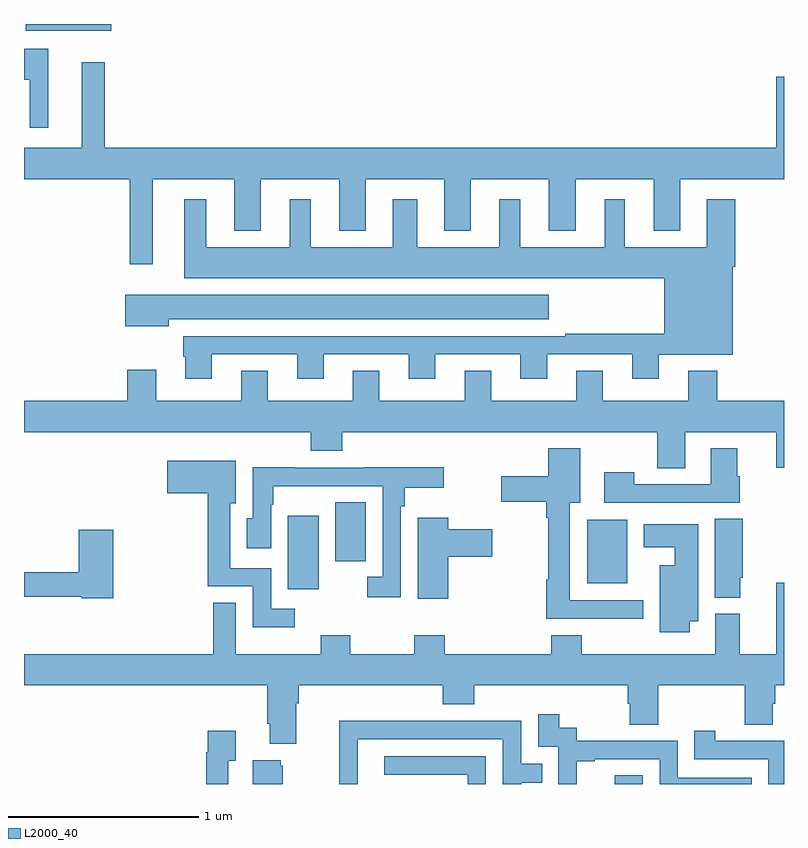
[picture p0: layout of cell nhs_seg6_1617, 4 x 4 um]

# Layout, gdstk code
import gdstk
lib = gdstk.Library(unit=1e-6, precision=1e-09)
def R(c, l, rs):  # rectangles x0, y0, x1, y1
    for r in rs: c.add(gdstk.rectangle(r[:2], r[2:], *l))
def P(c, l, *ps):  # polygons
    for p in ps: c.add(gdstk.Polygon(p, *l))
L2000_40 = (2000, 40)

nhs_seg6_1617 = lib.new_cell('nhs_seg6_1617')
R(nhs_seg6_1617, L2000_40, [(212.109,929.5,212.256,929.545), (210.389,930.524,210.55,930.913), (211.964,930.557,212.176,930.892), (210.638,930.672,210.799,930.983), (209.01,933.464,209.459,933.5)])
P(nhs_seg6_1617, L2000_40, [(209.128,933.37),(209,933.37),(209,933.206),(209.03,933.206),(209.03,932.955),(209.128,932.955)],
  [(209.677,932.684),(210.107,932.684),(210.107,932.411),(210.247,932.411),(210.247,932.684),(210.659,932.684),(210.659,932.411),(210.799,932.411),(210.799,932.684),(211.211,932.684),(211.211,932.411),(211.351,932.411),(211.351,932.684),(211.763,932.684),(211.763,932.411),(211.903,932.411),(211.903,932.684),(212.315,932.684),(212.315,932.411),(212.455,932.411),(212.455,932.684),(213,932.684),(213,933.223),(212.96,933.223),(212.96,932.848),(209.425,932.848),(209.425,933.298),(209.303,933.298),(209.303,932.848),(209,932.848),(209,932.684),(209.556,932.684),(209.556,932.235),(209.677,932.235)],
  [(209.989,931.761),(210.437,931.761),(210.437,931.632),(210.577,931.632),(210.577,931.761),(211.025,931.761),(211.025,931.632),(211.165,931.632),(211.165,931.761),(211.613,931.761),(211.613,931.632),(211.753,931.632),(211.753,931.761),(212.201,931.761),(212.201,931.632),(212.341,931.632),(212.341,931.76),(212.731,931.76),(212.731,932.222),(212.744,932.222),(212.744,932.578),(212.594,932.578),(212.594,932.326),(212.161,932.326),(212.161,932.578),(212.057,932.578),(212.057,932.326),(211.612,932.326),(211.612,932.578),(211.502,932.578),(211.502,932.326),(211.069,932.326),(211.069,932.578),(210.941,932.578),(210.941,932.326),(210.508,932.326),(210.508,932.578),(210.398,932.578),(210.398,932.326),(209.959,932.326),(209.959,932.578),(209.843,932.578),(209.843,932.162),(212.369,932.162),(212.369,931.87),(211.849,931.87),(211.849,931.857),(209.837,931.857),(209.837,931.749),(209.849,931.749),(209.849,931.632),(209.989,931.632)],
  [(209.761,931.946),(211.762,931.946),(211.762,932.074),(209.532,932.074),(209.532,931.91),(209.761,931.91)],
  [(212.479,931.352),(212.96,931.352),(212.96,931.164),(213,931.164),(213,931.516),(212.648,931.516),(212.648,931.675),(212.495,931.675),(212.495,931.516),(212.047,931.516),(212.047,931.676),(211.907,931.676),(211.907,931.516),(211.459,931.516),(211.459,931.676),(211.319,931.676),(211.319,931.516),(210.871,931.516),(210.871,931.676),(210.731,931.676),(210.731,931.516),(210.283,931.516),(210.283,931.676),(210.143,931.676),(210.143,931.516),(209.695,931.516),(209.695,931.681),(209.543,931.681),(209.543,931.516),(209,931.516),(209,931.352),(210.509,931.352),(210.509,931.253),(210.674,931.253),(210.674,931.352),(212.332,931.352),(212.332,931.162),(212.479,931.162)],
  [(212.26,930.468),(211.873,930.468),(211.873,930.98),(211.927,930.98),(211.927,931.267),(211.76,931.267),(211.76,931.12),(211.512,931.12),(211.512,930.986),(211.748,930.986),(211.748,930.902),(211.76,930.902),(211.76,930.575),(211.748,930.575),(211.748,930.371),(212.26,930.371)],
  [(212.768,931.119),(212.755,931.119),(212.755,931.267),(212.615,931.267),(212.615,931.077),(212.211,931.077),(212.211,931.141),(212.055,931.141),(212.055,930.981),(212.768,930.981)],
  [(210.424,930.423),(210.3,930.423),(210.3,930.636),(210.085,930.636),(210.085,930.977),(210.115,930.977),(210.115,931.201),(209.754,931.201),(209.754,931.031),(209.967,931.031),(209.967,930.54),(210.204,930.54),(210.204,930.326),(210.424,930.326)],
  [(210.984,930.962),(211.004,930.962),(211.004,931.058),(211.21,931.058),(211.21,931.166),(210.791,931.166),(210.791,931.164),(210.425,931.164),(210.425,931.166),(210.204,931.166),(210.204,930.9),(210.173,930.9),(210.173,930.741),(210.3,930.741),(210.3,930.971),(210.313,930.971),(210.313,931.067),(210.542,931.067),(210.542,931.068),(210.888,931.068),(210.888,930.591),(210.807,930.591),(210.807,930.483),(210.984,930.483)],
  [(211.232,930.695),(211.465,930.695),(211.465,930.842),(211.232,930.842),(211.232,930.901),(211.073,930.901),(211.073,930.474),(211.232,930.474)],
  [(212.77,930.586),(212.783,930.586),(212.783,930.896),(212.636,930.896),(212.636,930.481),(212.77,930.481)],
  [(212.503,930.356),(212.548,930.356),(212.548,930.868),(212.261,930.868),(212.261,930.746),(212.426,930.746),(212.426,930.652),(212.345,930.652),(212.345,930.3),(212.503,930.3)],
  [(209.471,930.838),(209.288,930.838),(209.288,930.614),(209,930.614),(209,930.486),(209.304,930.486),(209.304,930.478),(209.471,930.478)],
  [(211.935,930.283),(211.775,930.283),(211.775,930.184),(211.214,930.184),(211.214,930.283),(211.054,930.283),(211.054,930.184),(210.717,930.184),(210.717,930.283),(210.562,930.283),(210.562,930.184),(210.115,930.184),(210.115,930.455),(209.997,930.455),(209.997,930.184),(209,930.184),(209,930.02),(210.281,930.02),(210.281,929.818),(210.293,929.818),(210.293,929.711),(210.433,929.711),(210.433,929.924),(210.446,929.924),(210.446,930.02),(211.205,930.02),(211.205,929.921),(211.37,929.921),(211.37,930.02),(212.177,930.02),(212.177,929.922),(212.189,929.922),(212.189,929.812),(212.337,929.812),(212.337,930.02),(212.794,930.02),(212.794,929.812),(212.941,929.812),(212.941,929.922),(212.954,929.922),(212.954,930.02),(213,930.02),(213,930.559),(212.96,930.559),(212.96,930.184),(212.767,930.184),(212.767,930.396),(212.639,930.396),(212.639,930.184),(211.935,930.184)],
  [(211.91,929.619),(212.005,929.619),(212.005,929.631),(212.346,929.631),(212.346,929.5),(212.831,929.5),(212.831,929.532),(212.442,929.532),(212.442,929.727),(211.908,929.727),(211.908,929.796),(211.816,929.796),(211.816,929.866),(211.707,929.866),(211.707,929.697),(211.812,929.697),(211.812,929.5),(211.91,929.5)],
  [(210.756,929.736),(211.521,929.736),(211.521,929.5),(211.617,929.5),(211.617,929.506),(211.727,929.506),(211.727,929.607),(211.617,929.607),(211.617,929.832),(211.121,929.832),(211.121,929.834),(210.658,929.834),(210.658,929.527),(210.66,929.527),(210.66,929.5),(210.756,929.5)],
  [(213,929.727),(212.638,929.727),(212.638,929.779),(212.527,929.779),(212.527,929.631),(212.916,929.631),(212.916,929.5),(213,929.5)],
  [(210.075,929.623),(210.115,929.623),(210.115,929.779),(209.967,929.779),(209.967,929.666),(209.959,929.666),(209.959,929.5),(210.075,929.5)],
  [(211.431,929.646),(210.897,929.646),(210.897,929.55),(211.335,929.55),(211.335,929.5),(211.431,929.5)],
  [(210.361,929.595),(210.35,929.595),(210.35,929.626),(210.203,929.626),(210.203,929.5),(210.361,929.5)])

lib.write_gds('nhs_seg6_1617.gds')
